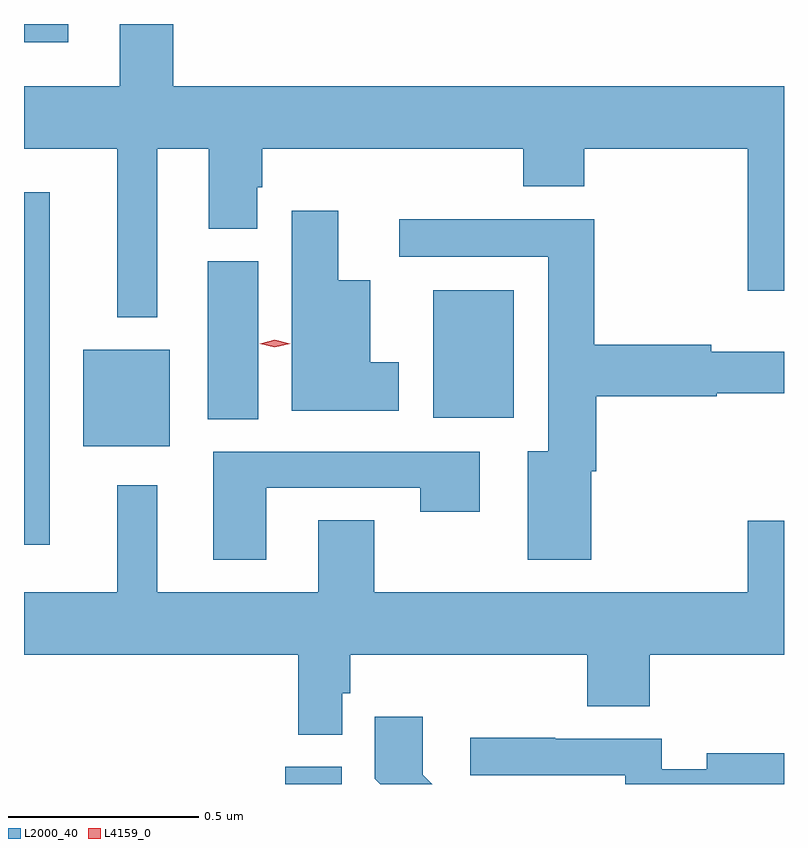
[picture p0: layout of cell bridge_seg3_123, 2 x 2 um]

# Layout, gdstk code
import gdstk
lib = gdstk.Library(unit=1e-6, precision=1e-09)
def R(c, l, rs):  # rectangles x0, y0, x1, y1
    for r in rs: c.add(gdstk.rectangle(r[:2], r[2:], *l))
def P(c, l, *ps):  # polygons
    for p in ps: c.add(gdstk.Polygon(p, *l))
L2000_40 = (2000, 40)
L4159_0 = (4159, 0)

bridge_seg3_123 = lib.new_cell('bridge_seg3_123')
R(bridge_seg3_123, L2000_40, [(319.634,715.228,319.783,715.273), (318.947,715.857,319.015,716.785), (319.103,716.117,319.33,716.371), (319.43,716.188,319.564,716.604), (320.024,716.192,320.236,716.527), (318.947,717.18,319.063,717.228)])
P(bridge_seg3_123, L2000_40, [(319.297,716.9),(319.433,716.9),(319.433,716.689),(319.561,716.689),(319.561,716.799),(319.574,716.799),(319.574,716.9),(320.261,716.9),(320.261,716.801),(320.421,716.801),(320.421,716.9),(320.852,716.9),(320.852,716.526),(320.947,716.526),(320.947,717.064),(319.34,717.064),(319.34,717.228),(319.199,717.228),(319.199,717.064),(318.947,717.064),(318.947,716.9),(319.193,716.9),(319.193,716.456),(319.297,716.456)],
  [(319.933,716.338),(319.858,716.338),(319.858,716.554),(319.774,716.554),(319.774,716.737),(319.652,716.737),(319.652,716.21),(319.933,716.21)],
  [(320.44,716.051),(320.453,716.051),(320.453,716.248),(320.77,716.248),(320.77,716.256),(320.947,716.256),(320.947,716.365),(320.756,716.365),(320.756,716.384),(320.448,716.384),(320.448,716.714),(319.935,716.714),(319.935,716.616),(320.327,716.616),(320.327,716.104),(320.273,716.104),(320.273,715.818),(320.44,715.818)],
  [(319.585,716.007),(319.99,716.007),(319.99,715.944),(320.146,715.944),(320.146,716.103),(319.445,716.103),(319.445,715.818),(319.585,715.818)],
  [(319.721,715.732),(319.297,715.732),(319.297,716.014),(319.193,716.014),(319.193,715.732),(318.947,715.732),(318.947,715.568),(319.669,715.568),(319.669,715.358),(319.785,715.358),(319.785,715.467),(319.805,715.467),(319.805,715.568),(320.429,715.568),(320.429,715.432),(320.594,715.432),(320.594,715.568),(320.947,715.568),(320.947,715.921),(320.852,715.921),(320.852,715.732),(319.869,715.732),(319.869,715.922),(319.721,715.922)],
  [(319.996,715.253),(319.996,715.405),(319.87,715.405),(319.87,715.242),(319.884,715.228),(320.021,715.228)],
  [(320.947,715.309),(320.744,715.309),(320.744,715.267),(320.625,715.267),(320.625,715.347),(320.345,715.347),(320.345,715.35),(320.121,715.35),(320.121,715.251),(320.529,715.251),(320.529,715.228),(320.947,715.228)])
P(bridge_seg3_123, L4159_0, [(319.607,716.377),(319.567,716.387),(319.567,716.387),(319.567,716.387),(319.607,716.397),(319.648,716.387),(319.648,716.386),(319.648,716.386)])

lib.write_gds('bridge_seg3_123.gds')
